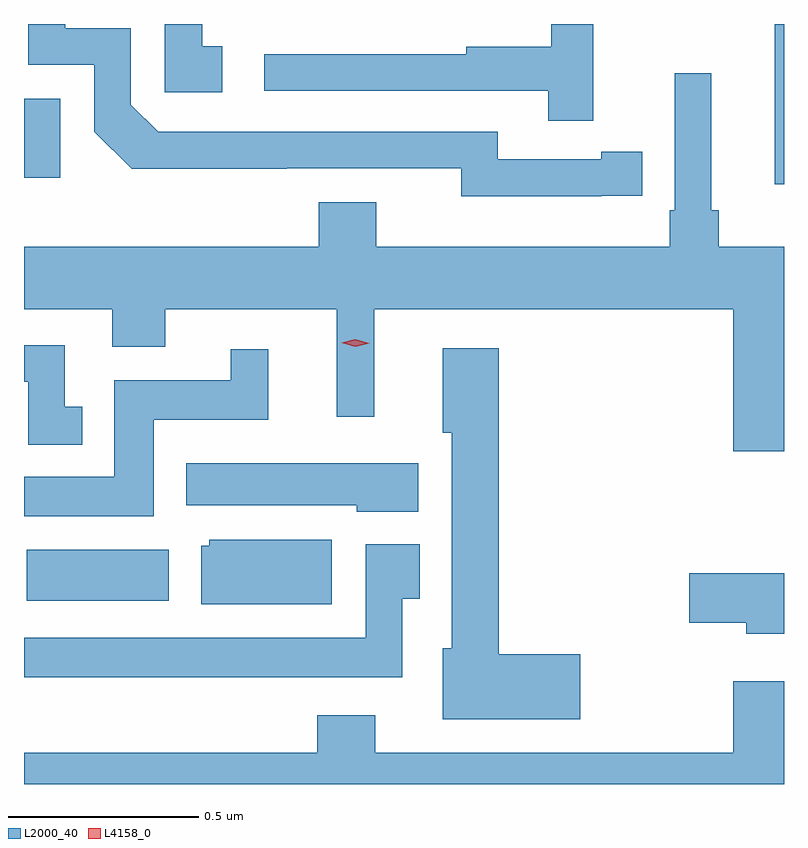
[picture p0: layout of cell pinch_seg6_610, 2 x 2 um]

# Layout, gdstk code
import gdstk
lib = gdstk.Library(unit=1e-6, precision=1e-09)
def R(c, l, rs):  # rectangles x0, y0, x1, y1
    for r in rs: c.add(gdstk.rectangle(r[:2], r[2:], *l))
def P(c, l, *ps):  # polygons
    for p in ps: c.add(gdstk.Polygon(p, *l))
L2000_40 = (2000, 40)
L4158_0 = (4158, 0)

pinch_seg6_610 = lib.new_cell('pinch_seg6_610')
R(pinch_seg6_610, L2000_40, [(534.776,961.22,535.15,961.354), (536.744,962.316,536.769,962.738), (534.769,962.334,534.864,962.541)])
P(pinch_seg6_610, L2000_40, [(535.291,962.679),(535.238,962.679),(535.238,962.738),(535.14,962.738),(535.14,962.559),(535.291,962.559)],
  [(536.267,962.738),(536.157,962.738),(536.157,962.678),(535.933,962.678),(535.933,962.658),(535.401,962.658),(535.401,962.562),(536.149,962.562),(536.149,962.484),(536.267,962.484)],
  [(536.288,962.286),(536.396,962.286),(536.396,962.402),(536.288,962.402),(536.288,962.382),(536.016,962.382),(536.016,962.454),(535.122,962.454),(535.05,962.526),(535.05,962.727),(534.877,962.727),(534.877,962.738),(534.78,962.738),(534.78,962.631),(534.954,962.631),(534.954,962.454),(535.052,962.357),(535.46,962.357),(535.46,962.358),(535.92,962.358),(535.92,962.285),(536.288,962.285)],
  [(536.769,962.152),(536.597,962.152),(536.597,962.248),(536.578,962.248),(536.578,962.608),(536.481,962.608),(536.481,962.248),(536.468,962.248),(536.468,962.152),(535.696,962.152),(535.696,962.269),(535.544,962.269),(535.544,962.152),(534.769,962.152),(534.769,961.988),(535.001,961.988),(535.001,961.889),(535.141,961.889),(535.141,961.988),(535.592,961.988),(535.592,961.704),(535.691,961.704),(535.691,961.988),(536.636,961.988),(536.636,961.614),(536.769,961.614)],
  [(534.922,961.731),(534.876,961.731),(534.876,961.893),(534.769,961.893),(534.769,961.797),(534.78,961.797),(534.78,961.631),(534.922,961.631)],
  [(536.233,961.079),(536.018,961.079),(536.018,961.885),(535.871,961.885),(535.871,961.662),(535.895,961.662),(535.895,961.095),(535.871,961.095),(535.871,960.908),(536.233,960.908)],
  [(535.111,961.697),(535.412,961.697),(535.412,961.882),(535.313,961.882),(535.313,961.801),(535.007,961.801),(535.007,961.546),(534.769,961.546),(534.769,961.442),(535.111,961.442)],
  [(535.807,961.582),(535.196,961.582),(535.196,961.472),(535.644,961.472),(535.644,961.454),(535.807,961.454)],
  [(535.579,961.381),(535.257,961.381),(535.257,961.365),(535.235,961.365),(535.235,961.211),(535.579,961.211)],
  [(535.765,961.225),(535.81,961.225),(535.81,961.369),(535.668,961.369),(535.668,961.123),(534.769,961.123),(534.769,961.019),(535.765,961.019)],
  [(536.769,961.293),(536.52,961.293),(536.52,961.163),(536.669,961.163),(536.669,961.133),(536.769,961.133)],
  [(536.769,961.009),(536.636,961.009),(536.636,960.82),(535.693,960.82),(535.693,960.919),(535.541,960.919),(535.541,960.82),(534.769,960.82),(534.769,960.738),(536.769,960.738)])
P(pinch_seg6_610, L4158_0, [(535.641,961.889),(535.605,961.899),(535.605,961.899),(535.605,961.899),(535.641,961.909),(535.677,961.898),(535.677,961.898),(535.677,961.898)])

lib.write_gds('pinch_seg6_610.gds')
